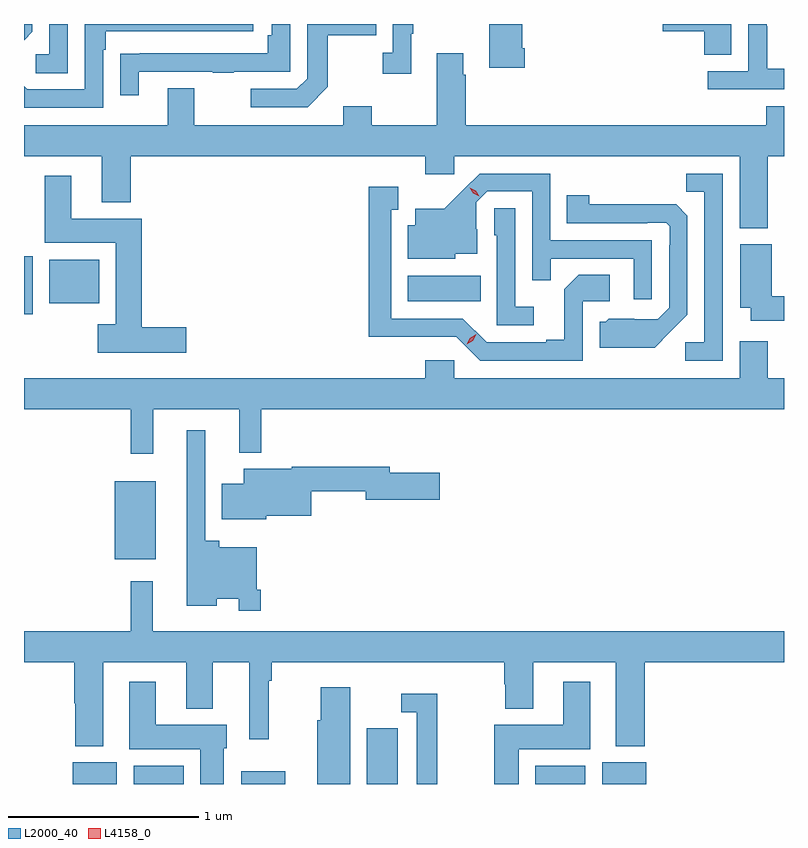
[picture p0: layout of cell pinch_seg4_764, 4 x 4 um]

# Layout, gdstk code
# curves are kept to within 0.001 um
import gdstk
lib = gdstk.Library(unit=1e-6, precision=1e-09)
def R(c, l, rs):  # rectangles x0, y0, x1, y1
    for r in rs: c.add(gdstk.rectangle(r[:2], r[2:], *l))
def P(c, l, *ps):  # polygons
    for p in ps: c.add(gdstk.Polygon(p, *l))
L2000_40 = (2000, 40)
L4158_0 = (4158, 0)

pinch_seg4_764 = lib.new_cell('pinch_seg4_764')
R(pinch_seg4_764, L2000_40, [(793.172,822.82,793.405,822.934), (793.493,822.82,793.756,822.916), (794.06,822.82,794.29,822.886), (794.72,822.82,794.884,823.114), (795.608,822.82,795.871,822.916), (795.959,822.82,796.192,822.934), (793.394,824.003,793.609,824.413), (792.916,825.293,792.961,825.598), (793.049,825.35,793.312,825.58), (794.936,825.362,795.32,825.496)])
P(pinch_seg4_764, L2000_40, [(796.916,826.585),(796.827,826.585),(796.827,826.808),(796.824,826.808),(796.824,826.82),(796.728,826.82),(796.728,826.572),(796.515,826.572),(796.515,826.476),(796.916,826.476)],
  [(793.519,826.569),(793.909,826.569),(793.909,826.564),(794.021,826.564),(794.021,826.569),(794.316,826.569),(794.316,826.82),(794.22,826.82),(794.22,826.762),(794.2,826.762),(794.2,826.665),(793.525,826.665),(793.525,826.664),(793.423,826.664),(793.423,826.446),(793.519,826.446)],
  [(795.551,826.693),(795.538,826.693),(795.538,826.82),(795.365,826.82),(795.365,826.589),(795.551,826.589)],
  [(794.515,826.489),(794.515,826.762),(794.771,826.762),(794.771,826.82),(794.406,826.82),(794.406,826.533),(794.352,826.479),(794.109,826.479),(794.109,826.383),(794.409,826.383)],
  [(792.96,826.778),(792.96,826.82),(792.916,826.82),(792.916,826.734)],
  [(793.332,826.685),(793.345,826.685),(793.345,826.782),(794.122,826.782),(794.122,826.82),(793.236,826.82),(793.236,826.476),(792.933,826.476),(792.916,826.493),(792.916,826.38),(793.332,826.38)],
  [(793.146,826.82),(793.05,826.82),(793.05,826.662),(792.978,826.662),(792.978,826.561),(793.146,826.561)],
  [(796.639,826.82),(796.278,826.82),(796.278,826.781),(796.496,826.781),(796.496,826.657),(796.639,826.657)],
  [(794.953,826.769),(794.965,826.769),(794.965,826.82),(794.856,826.82),(794.856,826.67),(794.805,826.67),(794.805,826.557),(794.953,826.557)],
  [(796.83,826.124),(796.916,826.124),(796.916,826.387),(796.823,826.387),(796.823,826.288),(795.242,826.288),(795.242,826.553),(795.229,826.553),(795.229,826.666),(795.089,826.666),(795.089,826.288),(794.745,826.288),(794.745,826.387),(794.597,826.387),(794.597,826.288),(793.813,826.288),(793.813,826.483),(793.673,826.483),(793.673,826.288),(792.916,826.288),(792.916,826.124),(793.325,826.124),(793.325,825.881),(793.478,825.881),(793.478,826.124),(795.029,826.124),(795.029,826.029),(795.18,826.029),(795.18,826.124),(796.682,826.124),(796.682,825.746),(796.83,825.746)],
  [(796.593,826.032),(796.402,826.032),(796.402,825.937),(796.497,825.937),(796.497,825.144),(796.395,825.144),(796.395,825.048),(796.593,825.048)],
  [(796.221,825.681),(795.687,825.681),(795.687,826.032),(795.314,826.032),(795.127,825.847),(794.975,825.847),(794.975,825.76),(794.936,825.76),(794.936,825.584),(795.186,825.584),(795.186,825.611),(795.301,825.611),(795.301,825.74),(795.297,825.74),(795.297,825.882),(795.354,825.939),(795.591,825.939),(795.591,825.472),(795.689,825.472),(795.689,825.585),(796.125,825.585),(796.125,825.372),(796.221,825.372)],
  [(793.771,825.224),(793.535,825.224),(793.535,825.796),(793.165,825.796),(793.165,826.021),(793.025,826.021),(793.025,825.668),(793.4,825.668),(793.4,825.241),(793.305,825.241),(793.305,825.089),(793.771,825.089)],
  [(795.858,825.36),(796,825.36),(796,825.5),(795.835,825.5),(795.759,825.424),(795.759,825.157),(795.665,825.157),(795.665,825.144),(795.351,825.144),(795.225,825.27),(794.848,825.27),(794.848,825.843),(794.887,825.843),(794.887,825.964),(794.73,825.964),(794.73,825.173),(795.192,825.174),(795.318,825.048),(795.858,825.048)],
  [(796.315,825.197),(796.407,825.29),(796.407,825.812),(796.348,825.871),(795.891,825.872),(795.891,825.919),(795.772,825.919),(795.772,825.771),(796.196,825.771),(796.196,825.774),(796.296,825.774),(796.314,825.756),(796.314,825.656),(796.311,825.656),(796.311,825.327),(796.251,825.267),(795.994,825.268),(795.978,825.252),(795.947,825.252),(795.947,825.116),(796.235,825.116)],
  [(795.598,825.331),(795.501,825.331),(795.501,825.851),(795.39,825.851),(795.39,825.708),(795.405,825.708),(795.405,825.234),(795.598,825.234)],
  [(796.916,825.386),(796.852,825.386),(796.852,825.661),(796.685,825.661),(796.685,825.326),(796.742,825.326),(796.742,825.258),(796.916,825.258)],
  [(793.595,824.792),(794.048,824.792),(794.048,824.564),(794.165,824.564),(794.165,824.792),(796.916,824.792),(796.916,824.956),(796.83,824.956),(796.83,825.151),(796.682,825.151),(796.682,824.956),(795.18,824.956),(795.18,825.049),(795.029,825.049),(795.029,824.956),(792.916,824.956),(792.916,824.792),(793.477,824.792),(793.477,824.559),(793.595,824.559)],
  [(794.162,823.843),(794.142,823.843),(794.142,824.065),(793.943,824.065),(793.943,824.101),(793.869,824.101),(793.869,824.683),(793.772,824.683),(793.772,823.757),(793.93,823.757),(793.93,823.796),(794.046,823.796),(794.046,823.731),(794.162,823.731)],
  [(794.19,824.231),(794.428,824.231),(794.428,824.362),(794.714,824.362),(794.714,824.315),(795.103,824.315),(795.103,824.457),(794.842,824.457),(794.842,824.491),(794.324,824.491),(794.324,824.479),(794.072,824.479),(794.072,824.401),(793.958,824.401),(793.958,824.213),(794.19,824.213)],
  [(793.333,823.46),(793.769,823.46),(793.769,823.217),(793.909,823.217),(793.909,823.46),(794.102,823.46),(794.102,823.056),(794.204,823.056),(794.204,823.364),(794.219,823.364),(794.219,823.46),(795.443,823.46),(795.443,823.344),(795.448,823.344),(795.448,823.217),(795.595,823.217),(795.595,823.46),(796.031,823.46),(796.031,823.019),(796.184,823.019),(796.184,823.46),(796.916,823.46),(796.916,823.624),(793.594,823.624),(793.594,823.888),(793.477,823.888),(793.477,823.624),(792.916,823.624),(792.916,823.46),(793.181,823.46),(793.181,823.245),(793.186,823.245),(793.186,823.019),(793.333,823.019)],
  [(793.966,823.008),(793.984,823.008),(793.984,823.132),(793.609,823.132),(793.609,823.357),(793.469,823.357),(793.469,823.004),(793.844,823.004),(793.844,822.82),(793.966,822.82)],
  [(795.52,823.004),(795.895,823.004),(795.895,823.357),(795.755,823.357),(795.755,823.132),(795.391,823.132),(795.391,822.82),(795.52,822.82)],
  [(794.632,823.33),(794.477,823.33),(794.477,823.155),(794.459,823.155),(794.459,822.82),(794.632,822.82)],
  [(795.091,823.294),(794.901,823.294),(794.901,823.197),(794.982,823.197),(794.982,822.82),(795.091,822.82)])
P(pinch_seg4_764, L4158_0, [(795.311,825.913),(795.28,825.928),(795.263,825.957),(795.263,825.957),(795.263,825.957),(795.294,825.942),(795.311,825.913),(795.311,825.913)],
  [(795.246,825.134),(795.246,825.134),(795.263,825.167),(795.295,825.186),(795.295,825.186),(795.295,825.186),(795.278,825.153),(795.247,825.134)])

lib.write_gds('pinch_seg4_764.gds')
